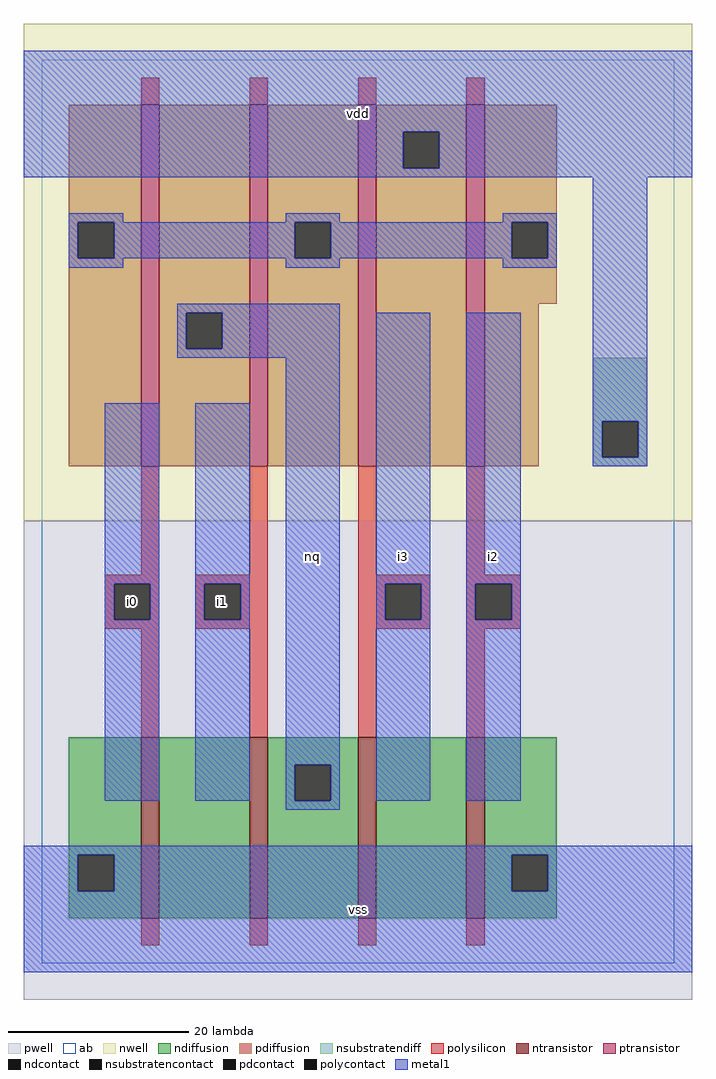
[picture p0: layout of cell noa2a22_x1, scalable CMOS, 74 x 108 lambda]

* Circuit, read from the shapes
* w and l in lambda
.subckt noa2a22_x1 i0 i1 i2 i3 nq vdd vss
M1 n1 i0 vss VSUBS nfet w=20 l=2
M2 nq i1 n1 VSUBS nfet w=20 l=2
M3 n2 i3 nq VSUBS nfet w=20 l=2
M4 vss i2 n2 VSUBS nfet w=20 l=2
M5 nq i0 n3 vdd pfet w=40 l=2
M6 n3 i1 nq vdd pfet w=40 l=2
M7 vdd i3 n3 vdd pfet w=40 l=2
M8 n3 i2 vdd vdd pfet w=40 l=2
.ends

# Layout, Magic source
magic
tech scmos
<< ab >>
rect 0 0 70 100
<< pwell >>
rect -2 -4 72 49
<< nwell >>
rect -2 49 72 104
<< polysilicon >>
rect 11 95 13 98
rect 23 95 25 98
rect 35 95 37 98
rect 47 95 49 98
rect 11 43 13 55
rect 23 43 25 55
rect 7 42 13 43
rect 7 38 8 42
rect 12 38 13 42
rect 7 37 13 38
rect 17 42 25 43
rect 17 38 18 42
rect 22 38 25 42
rect 17 37 25 38
rect 11 25 13 37
rect 23 25 25 37
rect 35 43 37 55
rect 47 43 49 55
rect 35 42 43 43
rect 35 38 38 42
rect 42 38 43 42
rect 35 37 43 38
rect 47 42 53 43
rect 47 38 48 42
rect 52 38 53 42
rect 47 37 53 38
rect 35 25 37 37
rect 47 25 49 37
rect 11 2 13 5
rect 23 2 25 5
rect 35 2 37 5
rect 47 2 49 5
<< ndiffusion >>
rect 3 12 11 25
rect 3 8 4 12
rect 8 8 11 12
rect 3 5 11 8
rect 13 5 23 25
rect 25 22 35 25
rect 25 18 28 22
rect 32 18 35 22
rect 25 5 35 18
rect 37 5 47 25
rect 49 12 57 25
rect 49 8 52 12
rect 56 8 57 12
rect 49 5 57 8
<< pdiffusion >>
rect 3 82 11 95
rect 3 78 4 82
rect 8 78 11 82
rect 3 55 11 78
rect 13 72 23 95
rect 13 68 16 72
rect 20 68 23 72
rect 13 55 23 68
rect 25 82 35 95
rect 25 78 28 82
rect 32 78 35 82
rect 25 55 35 78
rect 37 92 47 95
rect 37 88 40 92
rect 44 88 47 92
rect 37 55 47 88
rect 49 82 57 95
rect 49 78 52 82
rect 56 78 57 82
rect 49 73 57 78
rect 49 55 55 73
<< metal1 >>
rect -2 92 72 101
rect -2 88 40 92
rect 44 88 72 92
rect -2 87 72 88
rect 3 82 9 83
rect 27 82 33 83
rect 51 82 57 83
rect 3 78 4 82
rect 8 78 28 82
rect 32 78 52 82
rect 56 78 57 82
rect 3 77 9 78
rect 27 77 33 78
rect 51 77 57 78
rect 15 72 33 73
rect 15 68 16 72
rect 20 68 33 72
rect 15 67 33 68
rect 7 42 13 62
rect 7 38 8 42
rect 12 38 13 42
rect 7 18 13 38
rect 17 42 23 62
rect 17 38 18 42
rect 22 38 23 42
rect 17 18 23 38
rect 27 22 33 67
rect 27 18 28 22
rect 32 18 33 22
rect 37 42 43 72
rect 37 38 38 42
rect 42 38 43 42
rect 37 18 43 38
rect 47 42 53 72
rect 61 60 67 87
rect 61 56 62 60
rect 66 56 67 60
rect 61 55 67 56
rect 47 38 48 42
rect 52 38 53 42
rect 47 18 53 38
rect 27 17 33 18
rect -2 12 72 13
rect -2 8 4 12
rect 8 8 52 12
rect 56 8 72 12
rect -2 -1 72 8
<< ntransistor >>
rect 11 5 13 25
rect 23 5 25 25
rect 35 5 37 25
rect 47 5 49 25
<< ptransistor >>
rect 11 55 13 95
rect 23 55 25 95
rect 35 55 37 95
rect 47 55 49 95
<< polycontact >>
rect 8 38 12 42
rect 18 38 22 42
rect 38 38 42 42
rect 48 38 52 42
<< ndcontact >>
rect 4 8 8 12
rect 28 18 32 22
rect 52 8 56 12
<< pdcontact >>
rect 4 78 8 82
rect 16 68 20 72
rect 28 78 32 82
rect 40 88 44 92
rect 52 78 56 82
<< nsubstratencontact >>
rect 62 56 66 60
<< nsubstratendiff >>
rect 61 60 67 67
rect 61 56 62 60
rect 66 56 67 60
rect 61 55 67 56
<< labels >>
rlabel polycontact 10 40 10 40 6 i0
rlabel polycontact 10 40 10 40 6 i0
rlabel metal1 30 45 30 45 6 nq
rlabel polycontact 20 40 20 40 6 i1
rlabel metal1 30 45 30 45 6 nq
rlabel polycontact 20 40 20 40 6 i1
rlabel metal1 35 6 35 6 6 vss
rlabel metal1 35 6 35 6 6 vss
rlabel metal1 50 45 50 45 6 i2
rlabel metal1 40 45 40 45 6 i3
rlabel metal1 50 45 50 45 6 i2
rlabel metal1 40 45 40 45 6 i3
rlabel metal1 35 94 35 94 6 vdd
rlabel metal1 35 94 35 94 6 vdd
<< end >>
